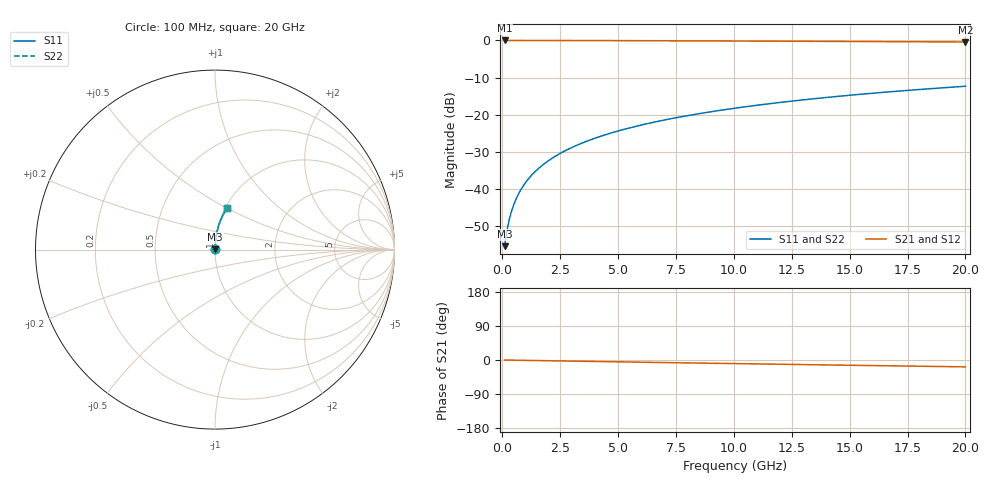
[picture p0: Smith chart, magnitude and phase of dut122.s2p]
! Touchstone file exported from HFSS 2024.1.0
!  File:  C:/UserFiles/LocalFiles/RDL_TSV_Batchsim/temp_RDL_bottom_122_1778696106.aedt
!  Generated:  02:17:43 AM May 14, 2026
!  Design:  RDL_bottom
!  Project:  temp_RDL_bottom_122_1778696106
!  Setup:  Setup1
!  Solution:  Sweep
! Variables:
!  dtsv = 10.80580581um
!  hbump = 3um
!  htsv = 75.64um
!  ldown = 179.02um
!  lrdl = 100um
!  p = 40
!  p1 = 59.29um
!  rhole = 1um
!  t = 450um
!  tdown = 4.48um
!  trdl = 3.915915916um
!  wdown = 13.64um
!  wrdl = 20um
# GHz S MA R 50.000000
! Terminal data exported
! Port[1] = RDL1_T1
! Port[2] = RDL1_T2
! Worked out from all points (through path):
!   200 points, 100 MHz to 20 GHz, reference 50 ohm
!   highest |S21| = -0.01 dB at 100 MHz (marker M1); lowest = -0.4 dB at 20 GHz (marker M2)
!   group delay of S21, straight-line fit = 2.51 ps
!   lowest |S11| = -55.4 dB at 100 MHz (marker M3), VSWR 1.00, Z = 50.1 + j0.124 ohm
!   |S11| at or under -10 dB: start of sweep to end of sweep
!   |S22| runs from -55.4 to -12.3 dB; largest |S21 - S12| = 2.5e-15
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0.1  0.0017 46.7  0.9988 -0.1  0.9988 -0.1  0.0017 46.7
! Gamma 0 0 0 0
! Port Impedance 50 0 50 0
0.2  0.002737 64.2  0.9988 -0.2  0.9988 -0.2  0.002737 64.2
0.3  0.003875 71.6  0.9988 -0.3  0.9988 -0.3  0.003875 71.6
0.4  0.005038 75.6  0.9987 -0.4  0.9987 -0.4  0.005038 75.6
0.5  0.006212 78.1  0.9987 -0.5  0.9987 -0.5  0.006212 78.1
0.7  0.008574 81.0  0.9986 -0.7  0.9986 -0.7  0.008574 81.0
0.8  0.00976 82.0  0.9985 -0.8  0.9985 -0.8  0.00976 82.0
1  0.01214 83.3  0.9985 -1.0  0.9985 -1.0  0.01214 83.3
1.2  0.01453 84.1  0.9983 -1.2  0.9983 -1.2  0.01453 84.1
1.4  0.01692 84.7  0.9982 -1.4  0.9982 -1.4  0.01692 84.7
1.7  0.02051 85.3  0.998 -1.7  0.998 -1.7  0.02051 85.3
2  0.02411 85.6  0.9977 -2.0  0.9977 -2.0  0.02411 85.6
2.7  0.03254 86.0  0.997 -2.7  0.997 -2.7  0.03254 86.0
3.5  0.04219 86.0  0.9959 -3.5  0.9959 -3.5  0.04219 86.0
4.2  0.05067 85.8  0.9948 -4.1  0.9948 -4.1  0.05067 85.8
5  0.06039 85.5  0.9934 -4.9  0.9934 -4.9  0.06039 85.5
6.8  0.08239 84.5  0.9897 -6.6  0.9897 -6.6  0.08239 84.5
8.3  0.1008 83.5  0.9863 -8.0  0.9863 -8.0  0.1008 83.5
10.1  0.123 82.1  0.9818 -9.6  0.9818 -9.6  0.123 82.1
13.4  0.1634 79.4  0.973 -12.5  0.973 -12.5  0.1634 79.4
16.7  0.2031 76.6  0.9633 -15.3  0.9633 -15.3  0.2031 76.6
20  0.2415 73.7  0.9527 -18.1  0.9527 -18.1  0.2415 73.7
